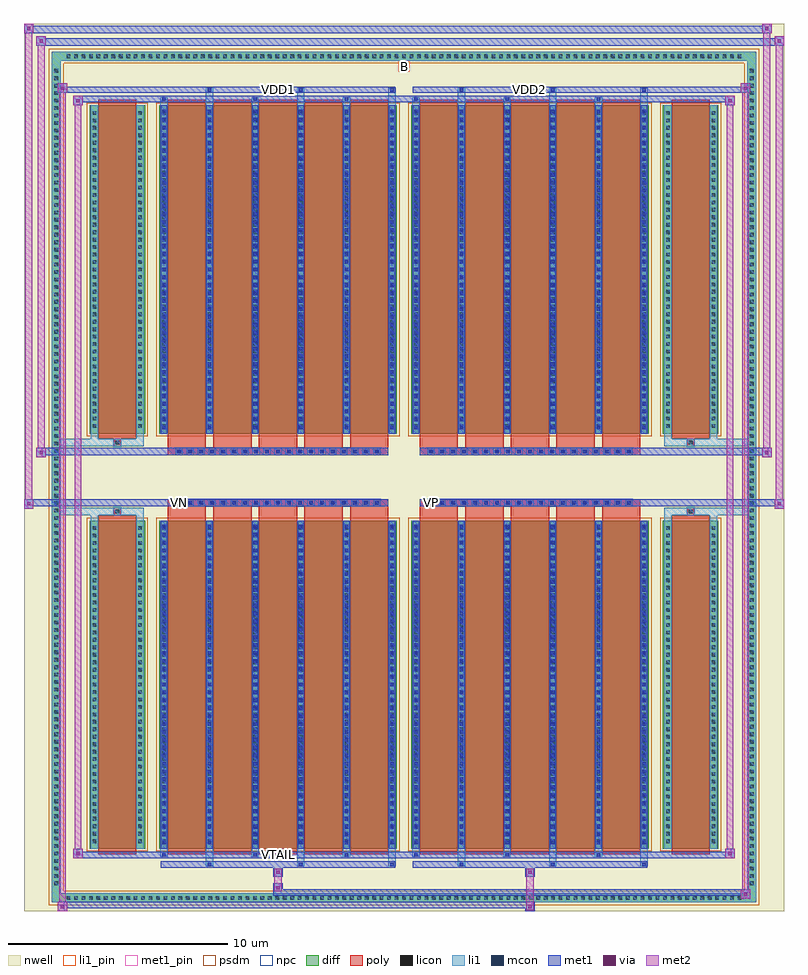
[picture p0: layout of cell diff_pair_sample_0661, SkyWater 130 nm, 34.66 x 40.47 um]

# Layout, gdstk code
import gdstk
lib = gdstk.Library(unit=1e-6, precision=5e-09)
def R(c, l, rs):  # rectangles x0, y0, x1, y1
    for r in rs: c.add(gdstk.rectangle(r[:2], r[2:], *l))
def A(c, l, x, y, w, h, nx, ny, dx, dy):  # array of equal rectangles
    R(c, l, [(x+i*dx, y+j*dy, x+i*dx+w, y+j*dy+h) for i in range(nx) for j in range(ny)])
def P(c, l, *ps):  # polygons
    for p in ps: c.add(gdstk.Polygon(p, *l))
nwell = (64, 20)
diff = (65, 20)
poly = (66, 20)
licon = (66, 44)
li1_pin = (67, 16)
li1 = (67, 20)
mcon = (67, 44)
met1_pin = (68, 16)
met1 = (68, 20)
via = (68, 44)
met2 = (69, 20)
psdm = (94, 20)
npc = (95, 20)

diff_pair_sample_0661 = lib.new_cell('diff_pair_sample_0661')
R(diff_pair_sample_0661, nwell, [(-17.33,-19.8,17.33,20.67), (-14.65,-17.99,-0.01,-0.805), (0.01,-17.99,14.65,-0.805), (-14.65,0.805,-0.01,17.99), (0.01,0.805,14.65,17.99)])
A(diff_pair_sample_0661, diff, -15.505, -19.4, 0.41, 0.41, 91, 2, 0.34, 38.39)
A(diff_pair_sample_0661, diff, -16.06, -18.735, 0.41, 0.41, 1, 110, 0, 0.34)
A(diff_pair_sample_0661, diff, 15.65, -18.735, 0.41, 0.41, 1, 110, 0, 0.34)
R(diff_pair_sample_0661, diff, [(-15.505,-19.4,15.505,-18.99), (-16.06,-18.735,-15.65,18.735), (15.65,-18.735,16.06,18.735), (-14.34,-16.945,-11.81,-1.985), (-11.17,-16.945,-0.32,-1.985), (0.32,-16.945,11.17,-1.985), (11.81,-16.945,14.34,-1.985), (-14.34,1.985,-11.81,16.945), (-11.17,1.985,-0.32,16.945), (0.32,1.985,11.17,16.945), (11.81,1.985,14.34,16.945), (-15.505,18.99,15.505,19.4)])
P(diff_pair_sample_0661, diff, [(16.06,19.4),(-16.06,19.4),(-16.06,-18.99),(-15.65,-18.99),(-15.65,18.99),(15.65,18.99),(15.65,-18.99),(-15.65,-18.99),(-16.06,-18.99),(-16.06,-19.4),(16.06,-19.4)])
A(diff_pair_sample_0661, poly, -10.78, -17.195, 1.75, 15.46, 5, 2, 2.08, 18.93)
A(diff_pair_sample_0661, poly, 0.71, -17.195, 1.75, 15.46, 5, 2, 2.08, 18.93)
A(diff_pair_sample_0661, poly, -10.78, -1.735, 1.75, 0.4, 5, 2, 2.08, 3.07)
A(diff_pair_sample_0661, poly, 0.71, -1.735, 1.75, 0.4, 5, 2, 2.08, 3.07)
A(diff_pair_sample_0661, poly, -10.41, -1.335, 0.33, 0.33, 19, 2, 0.5, 2.34)
A(diff_pair_sample_0661, poly, 1.08, -1.335, 0.33, 0.33, 19, 2, 0.5, 2.34)
R(diff_pair_sample_0661, poly, [(-13.95,-17.195,-12.2,-1.735), (12.2,-17.195,13.95,-1.735), (-13.24,-1.735,-12.91,-1.405), (-13.24,-1.735,-12.91,-1.405), (12.91,-1.735,13.24,-1.405), (12.91,-1.735,13.24,-1.405), (-10.78,-1.335,-0.71,-1.005), (0.71,-1.335,10.78,-1.005), (-10.78,1.005,-0.71,1.335), (0.71,1.005,10.78,1.335), (-13.24,1.405,-12.91,1.735), (-13.24,1.405,-12.91,1.735), (12.91,1.405,13.24,1.735), (12.91,1.405,13.24,1.735), (-13.95,1.735,-12.2,17.195), (12.2,1.735,13.95,17.195)])
A(diff_pair_sample_0661, licon, -15.385, -19.28, 0.17, 0.17, 91, 2, 0.34, 38.39)
A(diff_pair_sample_0661, licon, -15.94, -18.615, 0.17, 0.17, 1, 110, 0, 0.34)
A(diff_pair_sample_0661, licon, 15.77, -18.615, 0.17, 0.17, 1, 110, 0, 0.34)
A(diff_pair_sample_0661, licon, -14.2, -16.69, 0.17, 0.17, 1, 43, 0, 0.34)
A(diff_pair_sample_0661, licon, -12.12, -16.69, 0.17, 0.17, 1, 43, 0, 0.34)
A(diff_pair_sample_0661, licon, -11.03, -16.69, 0.17, 0.17, 6, 43, 2.08, 0.34)
A(diff_pair_sample_0661, licon, 0.46, -16.69, 0.17, 0.17, 6, 43, 2.08, 0.34)
A(diff_pair_sample_0661, licon, 11.95, -16.69, 0.17, 0.17, 1, 43, 0, 0.34)
A(diff_pair_sample_0661, licon, 14.03, -16.69, 0.17, 0.17, 1, 43, 0, 0.34)
A(diff_pair_sample_0661, licon, -10.33, -1.255, 0.17, 0.17, 19, 2, 0.5, 2.34)
A(diff_pair_sample_0661, licon, 1.16, -1.255, 0.17, 0.17, 19, 2, 0.5, 2.34)
A(diff_pair_sample_0661, licon, -14.2, 2.24, 0.17, 0.17, 1, 43, 0, 0.34)
A(diff_pair_sample_0661, licon, -12.12, 2.24, 0.17, 0.17, 1, 43, 0, 0.34)
A(diff_pair_sample_0661, licon, -11.03, 2.24, 0.17, 0.17, 6, 43, 2.08, 0.34)
A(diff_pair_sample_0661, licon, 0.46, 2.24, 0.17, 0.17, 6, 43, 2.08, 0.34)
A(diff_pair_sample_0661, licon, 11.95, 2.24, 0.17, 0.17, 1, 43, 0, 0.34)
A(diff_pair_sample_0661, licon, 14.03, 2.24, 0.17, 0.17, 1, 43, 0, 0.34)
R(diff_pair_sample_0661, licon, [(-13.16,-1.655,-12.99,-1.485), (12.99,-1.655,13.16,-1.485), (-13.16,1.485,-12.99,1.655), (12.99,1.485,13.16,1.655)])
R(diff_pair_sample_0661, li1_pin, [(-0.25,18.49,0.25,18.99)])
A(diff_pair_sample_0661, li1, -15.465, -19.36, 0.33, 0.33, 91, 2, 0.34, 38.39)
A(diff_pair_sample_0661, li1, -16.02, -18.695, 0.33, 0.33, 1, 110, 0, 0.34)
A(diff_pair_sample_0661, li1, 15.69, -18.695, 0.33, 0.33, 1, 110, 0, 0.34)
A(diff_pair_sample_0661, li1, -9.03, -17.75, 0.33, 0.805, 3, 2, 4.16, 34.695)
A(diff_pair_sample_0661, li1, -8.95, -17.75, 0.17, 0.17, 3, 2, 4.16, 35.33)
A(diff_pair_sample_0661, li1, 2.46, -17.75, 0.33, 0.805, 3, 2, 4.16, 34.695)
A(diff_pair_sample_0661, li1, 2.54, -17.75, 0.17, 0.17, 3, 2, 4.16, 35.33)
A(diff_pair_sample_0661, li1, -11.11, -17.32, 0.33, 0.375, 3, 2, 4.16, 34.265)
A(diff_pair_sample_0661, li1, -11.03, -17.32, 0.17, 0.17, 3, 2, 4.16, 34.47)
A(diff_pair_sample_0661, li1, 0.38, -17.32, 0.33, 0.375, 3, 2, 4.16, 34.265)
A(diff_pair_sample_0661, li1, 0.46, -17.32, 0.17, 0.17, 3, 2, 4.16, 34.47)
A(diff_pair_sample_0661, li1, -11.11, -16.945, 0.33, 14.96, 6, 2, 2.08, 18.93)
A(diff_pair_sample_0661, li1, 0.38, -16.945, 0.33, 14.96, 6, 2, 2.08, 18.93)
A(diff_pair_sample_0661, li1, -14.28, -16.77, 0.33, 0.33, 1, 43, 0, 0.34)
A(diff_pair_sample_0661, li1, -12.2, -16.77, 0.33, 0.33, 1, 43, 0, 0.34)
A(diff_pair_sample_0661, li1, -11.11, -16.77, 0.33, 0.33, 6, 43, 2.08, 0.34)
A(diff_pair_sample_0661, li1, 0.38, -16.77, 0.33, 0.33, 6, 43, 2.08, 0.34)
A(diff_pair_sample_0661, li1, 11.87, -16.77, 0.33, 0.33, 1, 43, 0, 0.34)
A(diff_pair_sample_0661, li1, 13.95, -16.77, 0.33, 0.33, 1, 43, 0, 0.34)
A(diff_pair_sample_0661, li1, -11.03, -16.75, 0.17, 0.17, 6, 41, 2.08, 0.36)
A(diff_pair_sample_0661, li1, -11.03, -16.75, 0.17, 14.57, 6, 2, 2.08, 18.93)
A(diff_pair_sample_0661, li1, 0.46, -16.75, 0.17, 0.17, 6, 41, 2.08, 0.36)
A(diff_pair_sample_0661, li1, 0.46, -16.75, 0.17, 14.57, 6, 2, 2.08, 18.93)
A(diff_pair_sample_0661, li1, -10.41, -1.335, 0.33, 0.33, 19, 2, 0.5, 2.34)
A(diff_pair_sample_0661, li1, 1.08, -1.335, 0.33, 0.33, 19, 2, 0.5, 2.34)
A(diff_pair_sample_0661, li1, -14.28, 2.16, 0.33, 0.33, 1, 43, 0, 0.34)
A(diff_pair_sample_0661, li1, -12.2, 2.16, 0.33, 0.33, 1, 43, 0, 0.34)
A(diff_pair_sample_0661, li1, -11.11, 2.16, 0.33, 0.33, 6, 43, 2.08, 0.34)
A(diff_pair_sample_0661, li1, 0.38, 2.16, 0.33, 0.33, 6, 43, 2.08, 0.34)
A(diff_pair_sample_0661, li1, 11.87, 2.16, 0.33, 0.33, 1, 43, 0, 0.34)
A(diff_pair_sample_0661, li1, 13.95, 2.16, 0.33, 0.33, 1, 43, 0, 0.34)
A(diff_pair_sample_0661, li1, -11.03, 2.18, 0.17, 0.17, 6, 41, 2.08, 0.36)
A(diff_pair_sample_0661, li1, 0.46, 2.18, 0.17, 0.17, 6, 41, 2.08, 0.36)
R(diff_pair_sample_0661, li1, [(-16.06,-19.4,-15.65,-18.99), (-16.06,-19.4,-15.65,-18.99), (-15.65,-19.4,15.65,-18.99), (15.65,-19.4,16.06,-18.99), (15.65,-19.4,16.06,-18.99), (-16.06,-18.99,-15.65,18.99), (15.65,-18.99,16.06,18.99), (-14.28,-16.945,-13.95,-1.985), (-12.2,-16.945,-11.87,-1.985), (11.87,-16.945,12.2,-1.985), (13.95,-16.945,14.28,-1.985), (-14.28,-1.985,-13.95,-1.405), (-12.2,-1.985,-11.87,-1.405), (11.87,-1.985,12.2,-1.405), (13.95,-1.985,14.28,-1.405), (-16.06,-1.735,-13.24,-1.405), (-14.28,-1.735,-13.24,-1.405), (-13.24,-1.735,-12.91,-1.405), (-12.91,-1.735,-11.87,-1.405), (11.87,-1.735,12.91,-1.405), (12.91,-1.735,13.24,-1.405), (12.91,-1.735,16.06,-1.405), (13.24,-1.735,14.28,-1.405), (-16.06,1.405,-13.24,1.735), (-14.28,1.405,-13.24,1.735), (-14.28,1.405,-13.95,1.985), (-13.24,1.405,-12.91,1.735), (-12.91,1.405,-11.87,1.735), (-12.2,1.405,-11.87,1.985), (11.87,1.405,12.91,1.735), (11.87,1.405,12.2,1.985), (12.91,1.405,13.24,1.735), (12.91,1.405,16.06,1.735), (13.24,1.405,14.28,1.735), (13.95,1.405,14.28,1.985), (-14.28,1.985,-13.95,16.945), (-12.2,1.985,-11.87,16.945), (11.87,1.985,12.2,16.945), (13.95,1.985,14.28,16.945), (-16.06,18.99,-15.65,19.4), (-16.06,18.99,-15.65,19.4), (-15.65,18.99,15.65,19.4), (15.65,18.99,16.06,19.4), (15.65,18.99,16.06,19.4)])
A(diff_pair_sample_0661, mcon, -8.95, -17.75, 0.17, 0.17, 3, 2, 4.16, 35.33)
A(diff_pair_sample_0661, mcon, 2.54, -17.75, 0.17, 0.17, 3, 2, 4.16, 35.33)
A(diff_pair_sample_0661, mcon, -11.03, -17.32, 0.17, 0.17, 3, 2, 4.16, 34.47)
A(diff_pair_sample_0661, mcon, 0.46, -17.32, 0.17, 0.17, 3, 2, 4.16, 34.47)
A(diff_pair_sample_0661, mcon, -11.03, -16.75, 0.17, 0.17, 6, 41, 2.08, 0.36)
A(diff_pair_sample_0661, mcon, 0.46, -16.75, 0.17, 0.17, 6, 41, 2.08, 0.36)
A(diff_pair_sample_0661, mcon, -10.33, -1.255, 0.17, 0.17, 19, 2, 0.5, 2.34)
A(diff_pair_sample_0661, mcon, 1.16, -1.255, 0.17, 0.17, 19, 2, 0.5, 2.34)
A(diff_pair_sample_0661, mcon, -11.03, 2.18, 0.17, 0.17, 6, 41, 2.08, 0.36)
A(diff_pair_sample_0661, mcon, 0.46, 2.18, 0.17, 0.17, 6, 41, 2.08, 0.36)
R(diff_pair_sample_0661, met1_pin, [(-5.88,-17.36,-5.61,-17.09), (-10.38,-1.295,-10.11,-1.025), (1.11,-1.295,1.38,-1.025), (-5.88,17.54,-5.61,17.81), (5.61,17.54,5.88,17.81)])
A(diff_pair_sample_0661, met1, -9.01, -17.81, 0.29, 0.29, 3, 2, 4.16, 35.33)
A(diff_pair_sample_0661, met1, 2.48, -17.81, 0.29, 0.29, 3, 2, 4.16, 35.33)
A(diff_pair_sample_0661, met1, -11.09, -17.38, 0.29, 0.29, 3, 2, 4.16, 34.47)
A(diff_pair_sample_0661, met1, 0.4, -17.38, 0.29, 0.29, 3, 2, 4.16, 34.47)
A(diff_pair_sample_0661, met1, -11.09, -16.945, 0.29, 14.96, 6, 2, 2.08, 18.93)
A(diff_pair_sample_0661, met1, 0.4, -16.945, 0.29, 14.96, 6, 2, 2.08, 18.93)
A(diff_pair_sample_0661, met1, -11.09, -16.81, 0.29, 0.29, 6, 41, 2.08, 0.36)
A(diff_pair_sample_0661, met1, 0.4, -16.81, 0.29, 0.29, 6, 41, 2.08, 0.36)
A(diff_pair_sample_0661, met1, -10.39, -1.315, 0.29, 0.29, 19, 2, 0.5, 2.34)
A(diff_pair_sample_0661, met1, 1.1, -1.315, 0.29, 0.29, 19, 2, 0.5, 2.34)
A(diff_pair_sample_0661, met1, -11.09, 2.12, 0.29, 0.29, 6, 41, 2.08, 0.36)
A(diff_pair_sample_0661, met1, 0.4, 2.12, 0.29, 0.29, 6, 41, 2.08, 0.36)
R(diff_pair_sample_0661, met1, [(-15.79,-19.8,-15.36,-19.37), (5.53,-19.8,5.96,-19.37), (-15.79,-19.66,5.96,-19.37), (15.36,-19.23,15.79,-18.8), (-5.96,-19.09,15.79,-18.8), (-5.96,-18.95,-5.53,-18.52), (-5.96,-18.24,-5.53,-17.81), (5.53,-18.24,5.96,-17.81), (-11.09,-17.81,-0.4,-17.52), (0.4,-17.81,11.09,-17.52), (-15.08,-17.38,-14.65,-16.95), (-15.08,-17.38,-11.09,-17.09), (-11.09,-17.38,-0.4,-17.09), (-0.4,-17.38,0.4,-17.09), (0.4,-17.38,11.09,-17.09), (11.09,-17.38,15.08,-17.09), (14.65,-17.38,15.08,-16.95), (-17.33,-1.435,-16.9,-1.005), (16.9,-1.435,17.33,-1.005), (-17.33,-1.335,-0.71,-1.005), (-10.78,-1.335,-0.71,-1.005), (0.71,-1.335,10.78,-1.005), (0.71,-1.335,17.33,-1.005), (-16.76,0.905,-16.33,1.335), (16.33,0.905,16.76,1.335), (-16.76,1.005,-10.78,1.335), (-10.78,1.005,-0.71,1.335), (0.71,1.005,10.78,1.335), (10.78,1.005,16.76,1.335), (-15.08,16.95,-14.65,17.38), (14.65,16.95,15.08,17.38), (-15.08,17.09,-11.09,17.38), (-11.09,17.09,-0.4,17.38), (-0.4,17.09,0.4,17.38), (0.4,17.09,11.09,17.38), (11.09,17.09,15.08,17.38), (-15.79,17.52,-15.36,17.95), (-15.79,17.52,-11.09,17.81), (-11.09,17.52,-0.4,17.81), (0.4,17.52,11.09,17.81), (11.09,17.52,15.79,17.81), (15.36,17.52,15.79,17.95), (-16.76,19.67,-16.33,20.1), (-16.76,19.67,-14.65,20), (-14.65,19.67,14.65,20), (14.65,19.67,17.33,20), (16.9,19.67,17.33,20.1), (-17.33,20.24,-16.9,20.67), (-17.33,20.24,-14.65,20.57), (-14.65,20.24,14.65,20.57), (14.65,20.24,16.76,20.57), (16.33,20.24,16.76,20.67)])
R(diff_pair_sample_0661, via, [(-15.65,-19.66,-15.5,-19.51), (5.67,-19.66,5.82,-19.51), (15.5,-19.09,15.65,-18.94), (-5.82,-18.81,-5.67,-18.66), (-5.82,-18.1,-5.67,-17.95), (5.67,-18.1,5.82,-17.95), (-14.94,-17.24,-14.79,-17.09), (14.79,-17.24,14.94,-17.09), (-17.19,-1.295,-17.04,-1.145), (17.04,-1.295,17.19,-1.145), (-16.62,1.045,-16.47,1.195), (16.47,1.045,16.62,1.195), (-14.94,17.09,-14.79,17.24), (14.79,17.09,14.94,17.24), (-15.65,17.66,-15.5,17.81), (15.5,17.66,15.65,17.81), (-16.62,19.81,-16.47,19.96), (17.04,19.81,17.19,19.96), (-17.19,20.38,-17.04,20.53), (16.47,20.38,16.62,20.53)])
R(diff_pair_sample_0661, met2, [(-15.79,-19.8,-15.36,-19.37), (-15.72,-19.8,-15.43,17.95), (-15.43,-19.8,-15.36,-19.37), (-15.74,-19.75,-15.41,-19.42), (5.58,-19.75,5.91,-19.42), (5.58,-19.42,5.91,-18.19), (15.36,-19.23,15.79,-18.8), (15.43,-19.23,15.72,17.95), (15.72,-19.23,15.79,-18.8), (15.41,-19.18,15.74,-18.85), (-5.91,-18.9,-5.58,-18.57), (-5.91,-18.57,-5.58,-18.19), (-5.91,-18.19,-5.58,-17.86), (5.58,-18.19,5.91,-17.86), (-15.08,-17.38,-14.65,-16.95), (-15.01,-17.38,-14.72,17.38), (-14.72,-17.38,-14.65,-16.95), (14.65,-17.38,15.08,-16.95), (14.72,-17.38,15.01,17.38), (15.01,-17.38,15.08,-16.95), (-15.03,-17.33,-14.7,-17), (14.7,-17.33,15.03,-17), (-17.33,-1.435,-16.9,-1.005), (-17.28,-1.435,-16.95,20.67), (-16.95,-1.435,-16.9,-1.005), (16.9,-1.435,17.33,-1.005), (16.95,-1.435,17.28,20.1), (17.28,-1.435,17.33,-1.005), (-17.28,-1.385,-16.95,-1.055), (16.95,-1.385,17.28,-1.055), (-16.76,0.905,-16.33,1.335), (-16.71,0.905,-16.38,20.1), (-16.38,0.905,-16.33,1.335), (16.33,0.905,16.76,1.335), (16.38,0.905,16.71,20.67), (16.71,0.905,16.76,1.335), (-16.71,0.955,-16.38,1.285), (16.38,0.955,16.71,1.285), (-15.08,16.95,-14.65,17.38), (-14.72,16.95,-14.65,17.38), (14.65,16.95,15.08,17.38), (15.01,16.95,15.08,17.38), (-15.03,17,-14.7,17.33), (14.7,17,15.03,17.33), (-15.79,17.52,-15.36,17.95), (-15.43,17.52,-15.36,17.95), (15.36,17.52,15.79,17.95), (15.72,17.52,15.79,17.95), (-15.74,17.57,-15.41,17.9), (15.41,17.57,15.74,17.9), (-16.76,19.67,-16.33,20.1), (-16.38,19.67,-16.33,20.1), (16.9,19.67,17.33,20.1), (17.28,19.67,17.33,20.1), (-16.71,19.72,-16.38,20.05), (16.95,19.72,17.28,20.05), (-17.33,20.24,-16.9,20.67), (-16.95,20.24,-16.9,20.67), (16.33,20.24,16.76,20.67), (16.71,20.24,16.76,20.67), (-17.28,20.29,-16.95,20.62), (16.38,20.29,16.71,20.62)])
R(diff_pair_sample_0661, psdm, [(-14.47,-17.075,-11.68,-1.855), (-11.3,-17.075,-0.19,-1.855), (0.19,-17.075,11.3,-1.855), (11.68,-17.075,14.47,-1.855), (-14.47,1.855,-11.68,17.075), (-11.3,1.855,-0.19,17.075), (0.19,1.855,11.3,17.075), (11.68,1.855,14.47,17.075)])
P(diff_pair_sample_0661, psdm, [(16.19,19.53),(-16.19,19.53),(-16.19,-18.86),(-15.52,-18.86),(-15.52,18.86),(15.52,18.86),(15.52,-18.86),(-15.52,-18.86),(-16.19,-18.86),(-16.19,-19.53),(16.19,-19.53)])
A(diff_pair_sample_0661, npc, -10.43, -1.355, 0.37, 0.37, 19, 2, 0.5, 2.34)
A(diff_pair_sample_0661, npc, 1.06, -1.355, 0.37, 0.37, 19, 2, 0.5, 2.34)
R(diff_pair_sample_0661, npc, [(-13.26,-1.755,-12.89,-1.385), (12.89,-1.755,13.26,-1.385), (-10.43,-1.355,-9.56,-0.985), (-10.43,-1.355,-9.56,-0.985), (-9.93,-1.355,-9.06,-0.985), (-9.93,-1.355,-9.06,-0.985), (-9.43,-1.355,-8.56,-0.985), (-9.43,-1.355,-8.56,-0.985), (-8.93,-1.355,-8.06,-0.985), (-8.93,-1.355,-8.06,-0.985), (-8.43,-1.355,-7.56,-0.985), (-8.43,-1.355,-7.56,-0.985), (-7.93,-1.355,-7.06,-0.985), (-7.93,-1.355,-7.06,-0.985), (-7.43,-1.355,-6.56,-0.985), (-7.43,-1.355,-6.56,-0.985), (-6.93,-1.355,-6.06,-0.985), (-6.93,-1.355,-6.06,-0.985), (-6.43,-1.355,-5.56,-0.985), (-6.43,-1.355,-5.56,-0.985), (-5.93,-1.355,-5.06,-0.985), (-5.93,-1.355,-5.06,-0.985), (-5.43,-1.355,-4.56,-0.985), (-5.43,-1.355,-4.56,-0.985), (-4.93,-1.355,-4.06,-0.985), (-4.93,-1.355,-4.06,-0.985), (-4.43,-1.355,-3.56,-0.985), (-4.43,-1.355,-3.56,-0.985), (-3.93,-1.355,-3.06,-0.985), (-3.93,-1.355,-3.06,-0.985), (-3.43,-1.355,-2.56,-0.985), (-3.43,-1.355,-2.56,-0.985), (-2.93,-1.355,-2.06,-0.985), (-2.93,-1.355,-2.06,-0.985), (-2.43,-1.355,-1.56,-0.985), (-2.43,-1.355,-1.56,-0.985), (-1.93,-1.355,-1.06,-0.985), (-1.93,-1.355,-1.06,-0.985), (1.06,-1.355,1.93,-0.985), (1.06,-1.355,1.93,-0.985), (1.56,-1.355,2.43,-0.985), (1.56,-1.355,2.43,-0.985), (2.06,-1.355,2.93,-0.985), (2.06,-1.355,2.93,-0.985), (2.56,-1.355,3.43,-0.985), (2.56,-1.355,3.43,-0.985), (3.06,-1.355,3.93,-0.985), (3.06,-1.355,3.93,-0.985), (3.56,-1.355,4.43,-0.985), (3.56,-1.355,4.43,-0.985), (4.06,-1.355,4.93,-0.985), (4.06,-1.355,4.93,-0.985), (4.56,-1.355,5.43,-0.985), (4.56,-1.355,5.43,-0.985), (5.06,-1.355,5.93,-0.985), (5.06,-1.355,5.93,-0.985), (5.56,-1.355,6.43,-0.985), (5.56,-1.355,6.43,-0.985), (6.06,-1.355,6.93,-0.985), (6.06,-1.355,6.93,-0.985), (6.56,-1.355,7.43,-0.985), (6.56,-1.355,7.43,-0.985), (7.06,-1.355,7.93,-0.985), (7.06,-1.355,7.93,-0.985), (7.56,-1.355,8.43,-0.985), (7.56,-1.355,8.43,-0.985), (8.06,-1.355,8.93,-0.985), (8.06,-1.355,8.93,-0.985), (8.56,-1.355,9.43,-0.985), (8.56,-1.355,9.43,-0.985), (9.06,-1.355,9.93,-0.985), (9.06,-1.355,9.93,-0.985), (9.56,-1.355,10.43,-0.985), (9.56,-1.355,10.43,-0.985), (-10.43,0.985,-9.56,1.355), (-10.43,0.985,-9.56,1.355), (-9.93,0.985,-9.06,1.355), (-9.93,0.985,-9.06,1.355), (-9.43,0.985,-8.56,1.355), (-9.43,0.985,-8.56,1.355), (-8.93,0.985,-8.06,1.355), (-8.93,0.985,-8.06,1.355), (-8.43,0.985,-7.56,1.355), (-8.43,0.985,-7.56,1.355), (-7.93,0.985,-7.06,1.355), (-7.93,0.985,-7.06,1.355), (-7.43,0.985,-6.56,1.355), (-7.43,0.985,-6.56,1.355), (-6.93,0.985,-6.06,1.355), (-6.93,0.985,-6.06,1.355), (-6.43,0.985,-5.56,1.355), (-6.43,0.985,-5.56,1.355), (-5.93,0.985,-5.06,1.355), (-5.93,0.985,-5.06,1.355), (-5.43,0.985,-4.56,1.355), (-5.43,0.985,-4.56,1.355), (-4.93,0.985,-4.06,1.355), (-4.93,0.985,-4.06,1.355), (-4.43,0.985,-3.56,1.355), (-4.43,0.985,-3.56,1.355), (-3.93,0.985,-3.06,1.355), (-3.93,0.985,-3.06,1.355), (-3.43,0.985,-2.56,1.355), (-3.43,0.985,-2.56,1.355), (-2.93,0.985,-2.06,1.355), (-2.93,0.985,-2.06,1.355), (-2.43,0.985,-1.56,1.355), (-2.43,0.985,-1.56,1.355), (-1.93,0.985,-1.06,1.355), (-1.93,0.985,-1.06,1.355), (1.06,0.985,1.93,1.355), (1.06,0.985,1.93,1.355), (1.56,0.985,2.43,1.355), (1.56,0.985,2.43,1.355), (2.06,0.985,2.93,1.355), (2.06,0.985,2.93,1.355), (2.56,0.985,3.43,1.355), (2.56,0.985,3.43,1.355), (3.06,0.985,3.93,1.355), (3.06,0.985,3.93,1.355), (3.56,0.985,4.43,1.355), (3.56,0.985,4.43,1.355), (4.06,0.985,4.93,1.355), (4.06,0.985,4.93,1.355), (4.56,0.985,5.43,1.355), (4.56,0.985,5.43,1.355), (5.06,0.985,5.93,1.355), (5.06,0.985,5.93,1.355), (5.56,0.985,6.43,1.355), (5.56,0.985,6.43,1.355), (6.06,0.985,6.93,1.355), (6.06,0.985,6.93,1.355), (6.56,0.985,7.43,1.355), (6.56,0.985,7.43,1.355), (7.06,0.985,7.93,1.355), (7.06,0.985,7.93,1.355), (7.56,0.985,8.43,1.355), (7.56,0.985,8.43,1.355), (8.06,0.985,8.93,1.355), (8.06,0.985,8.93,1.355), (8.56,0.985,9.43,1.355), (8.56,0.985,9.43,1.355), (9.06,0.985,9.93,1.355), (9.06,0.985,9.93,1.355), (9.56,0.985,10.43,1.355), (9.56,0.985,10.43,1.355), (-13.26,1.385,-12.89,1.755), (12.89,1.385,13.26,1.755)])
diff_pair_sample_0661.add(gdstk.Label('VTAIL', (-5.745,-17.225), layer=68, texttype=5))
diff_pair_sample_0661.add(gdstk.Label('VN', (-10.245,-1.16), layer=68, texttype=5))
diff_pair_sample_0661.add(gdstk.Label('VP', (1.245,-1.16), layer=68, texttype=5))
diff_pair_sample_0661.add(gdstk.Label('B', (0,18.74), layer=67, texttype=5))
diff_pair_sample_0661.add(gdstk.Label('VDD2', (5.745,17.675), layer=68, texttype=5))
diff_pair_sample_0661.add(gdstk.Label('VDD1', (-5.745,17.675), layer=68, texttype=5))

lib.write_gds('diff_pair_sample_0661.gds')
